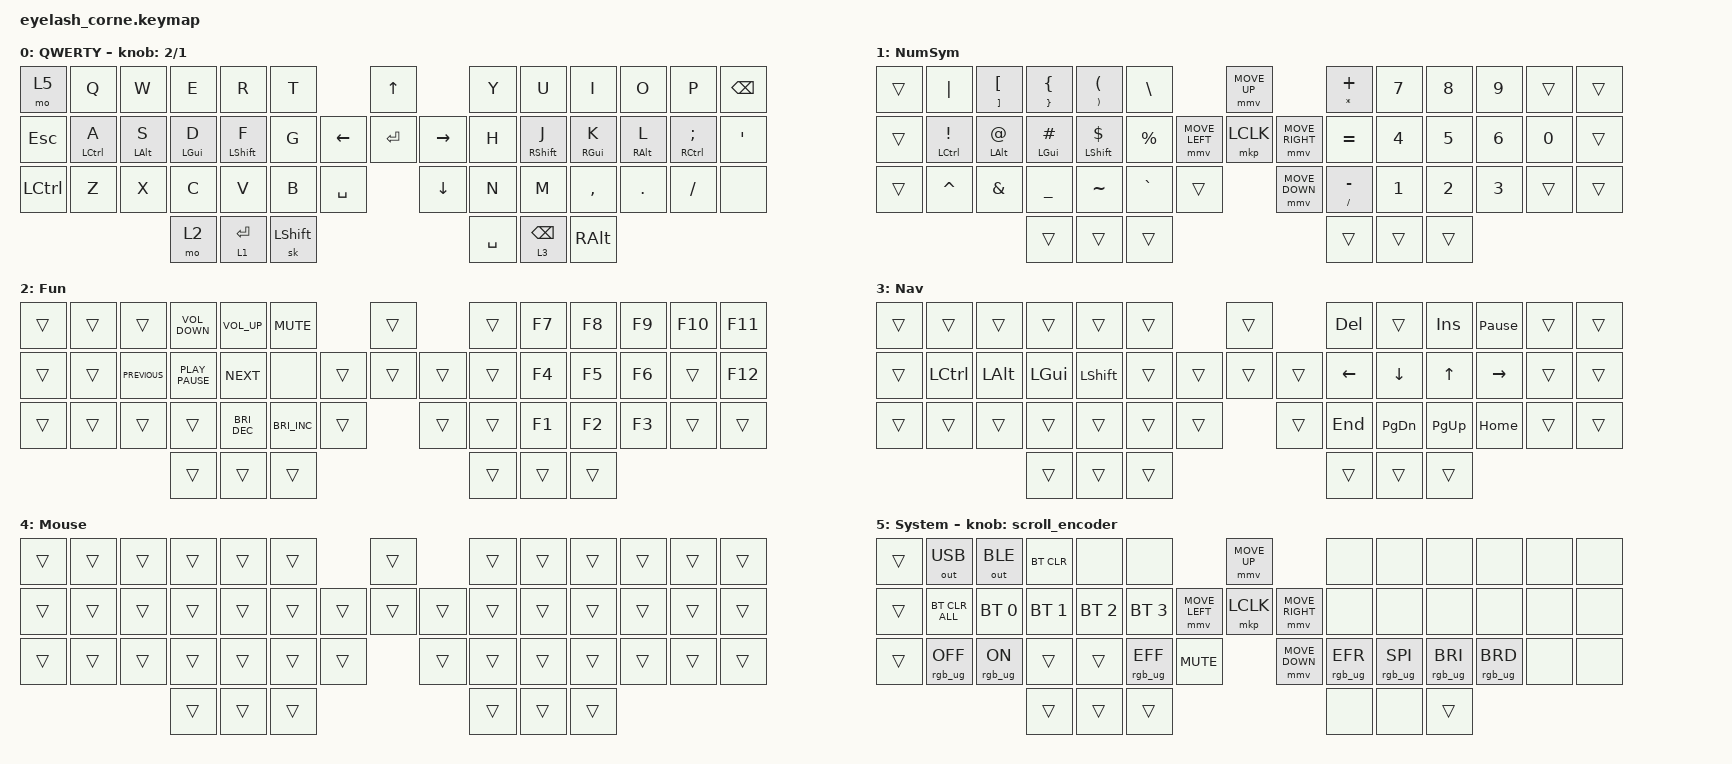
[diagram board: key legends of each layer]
#define ZMK_POINTING_DEFAULT_MOVE_VAL 1200  // 600
#define ZMK_POINTING_DEFAULT_SCRL_VAL 25   // 10

#include <input/processors.dtsi>
#include <zephyr/dt-bindings/input/input-event-codes.h>
#include <behaviors.dtsi>
#include <dt-bindings/zmk/bt.h>
#include <dt-bindings/zmk/keys.h>
#include <dt-bindings/zmk/outputs.h>
#include <dt-bindings/zmk/pointing.h>
#include <dt-bindings/zmk/rgb.h>

&mmv_input_listener { input-processors = <&zip_xy_scaler 2 1>; };

&msc_input_listener { input-processors = <&zip_scroll_scaler 2 1>; };

&msc {
    acceleration-exponent = <1>;      // 0
    time-to-max-speed-ms = <100>;       // 300
    delay-ms = <0>;                   // 0
};

&mmv {
    time-to-max-speed-ms = <500>;
    acceleration-exponent = <1>;
    trigger-period-ms = <16>;
};

/ {
    behaviors {
        HRM: HRM {
            compatible = "zmk,behavior-hold-tap";
            label = "HRM";
            bindings = <&kp>, <&kp>;

            #binding-cells = <2>;
            tapping-term-ms = <300>;
            quick-tap-ms = <175>;
            flavor = "tap-preferred";
        };

        BracketTap: BracketTap {
            compatible = "zmk,behavior-hold-tap";
            label = "BRACKETTAP";
            bindings = <&kp>, <&kp>;

            #binding-cells = <2>;
            tapping-term-ms = <200>;
            flavor = "tap-preferred";
        };
    };

    rgb_encoder: rgb_encoder {
        compatible = "zmk,behavior-sensor-rotate";
        #sensor-binding-cells = <0>;
        bindings = <&rgb_ug RGB_BRI>, <&rgb_ug RGB_BRD>;
    };

    scroll_encoder: scroll_encoder {
        compatible = "zmk,behavior-sensor-rotate";
        #sensor-binding-cells = <0>;
        bindings = <&msc SCRL_DOWN>, <&msc SCRL_UP>;

        tap-ms = <100>;
    };

    combos {
        compatible = "zmk,combos";

        BackSpace {
            bindings = <&kp BACKSPACE>;
            key-positions = <10 9>;
            timeout-ms = <150>;
            layers = <0 1>;
        };

        Tab {
            bindings = <&kp TAB>;
            key-positions = <30 31>;
            timeout-ms = <100>;
            layers = <0 1>;
        };

        Enter {
            bindings = <&kp ENTER>;
            key-positions = <39 38>;
            timeout-ms = <100>;
            layers = <0 1>;
        };
    };

    keymap {
        compatible = "zmk,keymap";

        default_layer {
            display-name = "QWERTY";
            bindings = <
&mo 5       &kp Q         &kp W            &kp E            &kp R              &kp T                                  &kp UP                &kp Y      &kp U               &kp I             &kp O             &kp P                    &kp BACKSPACE
&kp ESCAPE  &HRM LCTRL A  &HRM LEFT_ALT S  &HRM LEFT_GUI D  &HRM LEFT_SHIFT F  &kp G                        &kp LEFT  &kp ENTER  &kp RIGHT  &kp H      &HRM RIGHT_SHIFT J  &HRM RIGHT_GUI K  &HRM RIGHT_ALT L  &HRM RIGHT_CONTROL SEMI  &kp SQT
&kp LCTRL   &kp Z         &kp X            &kp C            &kp V              &kp B           &kp SPACE              &kp DOWN              &kp N      &kp M               &kp COMMA         &kp DOT           &kp FSLH                 &none
                                           &mo 2            &lt 1 ENTER        &sk LEFT_SHIFT                                               &kp SPACE  &lt 3 BACKSPACE     &kp RALT
            >;

            // sensor-bindings = <&inc_dec_kp C_VOLUME_UP C_VOLUME_DOWN>;

            sensor-bindings = <&inc_dec_kp N2 N1>;
        };

        NumSym {
            bindings = <
&trans  &kp PIPE                &BracketTap RIGHT_BRACKET LEFT_BRACKET  &BracketTap RIGHT_BRACE LEFT_BRACE  &BracketTap RIGHT_PARENTHESIS LEFT_PARENTHESIS  &kp BACKSLASH                            &mmv MOVE_UP                     &mt ASTERISK PLUS  &kp NUMBER_7  &kp NUMBER_8  &kp NUMBER_9  &trans        &trans
&trans  &HRM LCTRL EXCLAMATION  &HRM LEFT_ALT AT_SIGN                   &HRM LEFT_GUI HASH                  &HRM LEFT_SHIFT DOLLAR                          &kp PERCENT              &mmv MOVE_LEFT  &mkp LCLK       &mmv MOVE_RIGHT  &kp EQUAL          &kp NUMBER_4  &kp NUMBER_5  &kp NUMBER_6  &kp NUMBER_0  &trans
&trans  &kp CARET               &kp AMPERSAND                           &kp UNDERSCORE                      &kp TILDE                                       &kp GRAVE      &trans                    &mmv MOVE_DOWN                   &mt SLASH MINUS    &kp NUMBER_1  &kp NUMBER_2  &kp NUMBER_3  &trans        &trans
                                                                        &trans                              &trans                                          &trans                                                                    &trans             &trans        &trans
            >;

            label = "NumSym";
        };

        Fn {
            bindings = <
&trans  &trans  &trans          &kp C_VOLUME_DOWN  &kp C_VOLUME_UP       &kp K_MUTE                              &trans          &trans  &kp F7  &kp F8  &kp F9  &kp F10  &kp F11
&trans  &trans  &kp K_PREVIOUS  &kp K_PLAY_PAUSE   &kp K_NEXT            &none                           &trans  &trans  &trans  &trans  &kp F4  &kp F5  &kp F6  &trans   &kp F12
&trans  &trans  &trans          &trans             &kp C_BRIGHTNESS_DEC  &kp C_BRIGHTNESS_INC  &trans            &trans          &trans  &kp F1  &kp F2  &kp F3  &trans   &trans
                                &trans             &trans                &trans                                                  &trans  &trans  &trans
            >;

            label = "Fun";
        };

        Nav {
            bindings = <
&trans  &trans     &trans        &trans        &trans          &trans                    &trans          &kp DELETE  &trans          &kp INSERT    &kp PAUSE_BREAK  &trans  &trans
&trans  &kp LCTRL  &kp LEFT_ALT  &kp LEFT_GUI  &kp LEFT_SHIFT  &trans            &trans  &trans  &trans  &kp LEFT    &kp DOWN_ARROW  &kp UP_ARROW  &kp RIGHT        &trans  &trans
&trans  &trans     &trans        &trans        &trans          &trans  &trans            &trans          &kp END     &kp PAGE_DOWN   &kp PAGE_UP   &kp HOME         &trans  &trans
                                 &trans        &trans          &trans                                    &trans      &trans          &trans
            >;

            label = "Nav";
        };

        Mouse {
            bindings = <
&trans  &trans  &trans  &trans  &trans  &trans                    &trans          &trans  &trans  &trans  &trans  &trans  &trans
&trans  &trans  &trans  &trans  &trans  &trans            &trans  &trans  &trans  &trans  &trans  &trans  &trans  &trans  &trans
&trans  &trans  &trans  &trans  &trans  &trans  &trans            &trans          &trans  &trans  &trans  &trans  &trans  &trans
                        &trans  &trans  &trans                                    &trans  &trans  &trans
            >;
        };

        System {
            display-name = "System";
            bindings = <
&trans  &out OUT_USB     &out OUT_BLE    &bt BT_CLR    &none         &none                                          &mmv MOVE_UP                     &none            &none            &none            &none            &none  &none
&trans  &bt BT_CLR_ALL   &bt BT_SEL 0    &bt BT_SEL 1  &bt BT_SEL 2  &bt BT_SEL 3                   &mmv MOVE_LEFT  &mkp LCLK       &mmv MOVE_RIGHT  &none            &none            &none            &none            &none  &none
&trans  &rgb_ug RGB_OFF  &rgb_ug RGB_ON  &trans        &trans        &rgb_ug RGB_EFF  &kp C_MUTE                    &mmv MOVE_DOWN                   &rgb_ug RGB_EFR  &rgb_ug RGB_SPI  &rgb_ug RGB_BRI  &rgb_ug RGB_BRD  &none  &none
                                         &trans        &trans        &trans                                                                          &none            &none            &trans
            >;

            sensor-bindings = <&scroll_encoder>;
        };
    };
};
